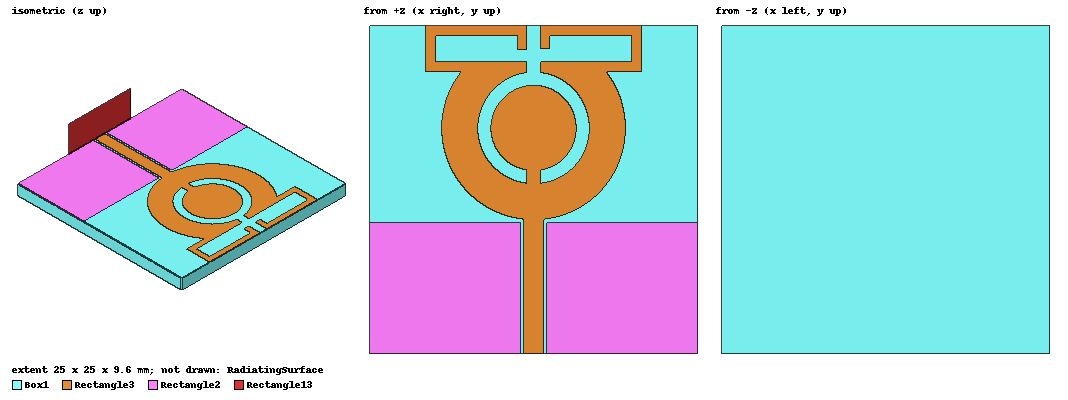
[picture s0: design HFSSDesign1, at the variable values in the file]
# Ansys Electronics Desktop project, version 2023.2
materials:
  vacuum: permittivity=1
  FR4_epoxy: permittivity=4.4 dielectric_loss_tangent=0.02

design HFSSDesign1 (HFSS, HFSS Terminal Network, model units mm)
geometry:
  Box1 [FR4_epoxy] = box(corner=(0mm, 0mm, 0mm), size=(25mm, 25mm, 1.6mm))
  Rectangle1 = rectangle(corner=(25mm, 0mm, 1.6mm), x_size=-11.5mm, y_size=10mm)
  Rectangle2 = rectangle(corner=(0mm, 0mm, 1.6mm), x_size=11.5mm, y_size=10mm)
  Rectangle3 = rectangle(corner=(11.75mm, 11mm, 1.6mm), x_size=1.5mm, y_size=-11mm)
  Circle1 = circle(normal=Z, centre=(12.5mm, 17.2mm, 1.6mm), radius=7mm)
  Rectangle4 = rectangle(corner=(4.25mm, 25mm, 1.6mm), x_size=16.5mm, y_size=-3.5mm)
  Circle2 = circle(normal=Z, centre=(12.5mm, 17.2mm, 1.6mm), radius=4.25mm)
  Circle3 = circle(normal=Z, centre=(12.5mm, 17.2mm, 1.6mm), radius=3.25mm)
  Circle1.subtract(Circle2)
  Rectangle4.unite(Circle1)
  Rectangle3.unite(Rectangle4)
  Rectangle5 = rectangle(corner=(12mm, 14.5mm, 1.6mm), x_size=1mm, y_size=-2mm)
  Rectangle3.unite(Rectangle5)
  Rectangle3.unite(Circle3)
  Rectangle6 = rectangle(corner=(12mm, 25mm, 1.6mm), x_size=1mm, y_size=-3.6mm)
  Rectangle3.subtract(Rectangle6)
  Rectangle9 = rectangle(corner=(5mm, 24.25mm, 1.6mm), x_size=6.25mm, y_size=-2mm)
  Rectangle3.subtract(Rectangle9)
  Rectangle10 = rectangle(corner=(13.75mm, 24.25mm, 1.6mm), x_size=6.25mm, y_size=-2mm)
  Rectangle3.subtract(Rectangle10)
  Rectangle11 = rectangle(corner=(11.25mm, 23.2mm, 1.6mm), x_size=0.75mm, y_size=-0.95mm)
  Rectangle12 = rectangle(corner=(13mm, 23.210243mm, 1.6mm), x_size=0.75mm, y_size=-0.96024288mm)
  Rectangle3.subtract(Rectangle12)
  Rectangle3.subtract(Rectangle11)
  Rectangle2.unite(Rectangle1)
  Rectangle13 = rectangle(corner=(7.7mm, 0mm, 5.6mm), z_size=-9.6mm, x_size=9.6mm)
  RadiatingSurface [vacuum] = region(absolute_offset: +X=12.5mm, -X=12.5mm, +Y=12.5mm, -Y=0, +Z=12.5mm, -Z=12.5mm)
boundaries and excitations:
  PerfE1: Perfect E Objects=Rectangle2
  Open1: Radiation Objects=RadiatingSurface
  PerfE2: Perfect E Objects=Rectangle3
  1: Lumped Port Objects=Rectangle13 LumpedPortType=Modal Modes{Mode1{IntLine{(12.5, 0, 0) -> (12, 0, 1.6)} CharImp=Zpi}} Impedance=50ohm
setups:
  Setup1: HfssDriven MultipleAdaptiveFreqsSetup{Low=3GHz High=11GHz} MaxDeltaS=0.02 MaximumPasses=6 MinimumPasses=1 MinimumConvergedPasses=1 PercentRefinement=30 BasisOrder=1 PortAccuracy=2 DrivenSolverType="Direct Solver"
    sweep Sweep: 2GHz to 11GHz, 60 points; Type=Discrete SaveFields SaveRadFields
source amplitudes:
  1:1: 1V 0deg
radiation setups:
  3D: Infinite Sphere Theta=0deg..180deg step 2deg Phi=-180deg..180deg step 2deg
  Elevation: Infinite Sphere Theta=-180deg..180deg step 1deg Phi=0deg..90deg step 90deg
  Azimuth: Infinite Sphere Theta=90deg..90deg step 0deg Phi=-180deg..180deg step 1deg
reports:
  Terminal S Parameter Plot 1:
  Terminal S Parameter Plot 2: dB(St(1,1)) vs Freq on Setup1 : Sweep
  Terminal S Parameter Plot 3: dB(St(1,1)) vs Freq on Setup1 : Sweep
  Gain Plot 1: dB(GainTotal) vs Phi, Theta on Setup1 : LastAdaptive, 3D [Freq=7GHz]
  Gain Plot 2: dB(GainTotal) vs Phi, Theta on Setup1 : LastAdaptive, 3D [Freq=7GHz]
